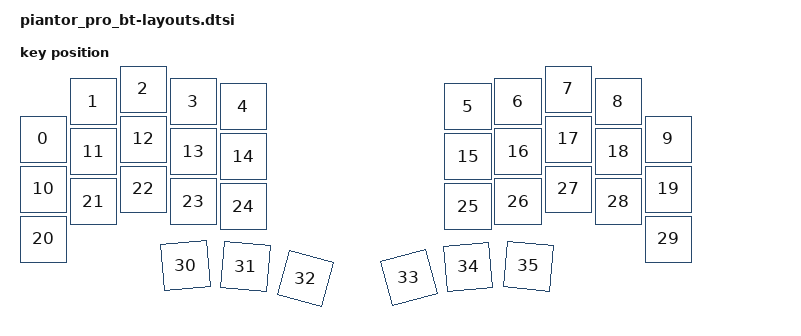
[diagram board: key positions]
#include <physical_layouts.dtsi>

/ {
    piantor_position_map {
        compatible = "zmk,physical-layout-position-map";
        complete;

        default_map: five_col {
            physical-layout = <&default_layout>;
            positions
                = <41  0  1  2  3  4  5  6  7  8  9 40>
                , <39 10 11 12 13 14 15 16 17 18 19 38>
                , <37 20 21 22 23 24 25 26 27 28 29 36>
                , <         30 31 32 33 34 35         >;
        };
    };
};

/ {
    default_layout: default_layout {
        compatible = "zmk,physical-layout";
        display-name = "Default Layout";
        keys  //                     w   h    x    y     rot    rx    ry
            = <&key_physical_attrs 100 100    0  100       0     0     0>
            , <&key_physical_attrs 100 100  100   25       0     0     0>
            , <&key_physical_attrs 100 100  200    0       0     0     0>
            , <&key_physical_attrs 100 100  300   25       0     0     0>
            , <&key_physical_attrs 100 100  400   35       0     0     0>
            , <&key_physical_attrs 100 100  850   35       0     0     0>
            , <&key_physical_attrs 100 100  950   25       0     0     0>
            , <&key_physical_attrs 100 100 1050    0       0     0     0>
            , <&key_physical_attrs 100 100 1150   25       0     0     0>
            , <&key_physical_attrs 100 100 1250  100       0     0     0>
            , <&key_physical_attrs 100 100    0  200       0     0     0>
            , <&key_physical_attrs 100 100  100  125       0     0     0>
            , <&key_physical_attrs 100 100  200  100       0     0     0>
            , <&key_physical_attrs 100 100  300  125       0     0     0>
            , <&key_physical_attrs 100 100  400  135       0     0     0>
            , <&key_physical_attrs 100 100  850  135       0     0     0>
            , <&key_physical_attrs 100 100  950  125       0     0     0>
            , <&key_physical_attrs 100 100 1050  100       0     0     0>
            , <&key_physical_attrs 100 100 1150  125       0     0     0>
            , <&key_physical_attrs 100 100 1250  200       0     0     0>
            , <&key_physical_attrs 100 100    0  300       0     0     0>
            , <&key_physical_attrs 100 100  100  225       0     0     0>
            , <&key_physical_attrs 100 100  200  200       0     0     0>
            , <&key_physical_attrs 100 100  300  225       0     0     0>
            , <&key_physical_attrs 100 100  400  235       0     0     0>
            , <&key_physical_attrs 100 100  850  235       0     0     0>
            , <&key_physical_attrs 100 100  950  225       0     0     0>
            , <&key_physical_attrs 100 100 1050  200       0     0     0>
            , <&key_physical_attrs 100 100 1150  225       0     0     0>
            , <&key_physical_attrs 100 100 1250  300       0     0     0>
            , <&key_physical_attrs 100 100  280  360  (-500)   260   350>
            , <&key_physical_attrs 100 100  410  350     500   400   350>
            , <&key_physical_attrs 100 100  545  370    1500   550   350>
            , <&key_physical_attrs 100 100  710  389 (-1500)   725   350>
            , <&key_physical_attrs 100 100  845  360  (-500)   850   350>
            , <&key_physical_attrs 100 100  975  350     500   975   350>
            ;
    };
};
